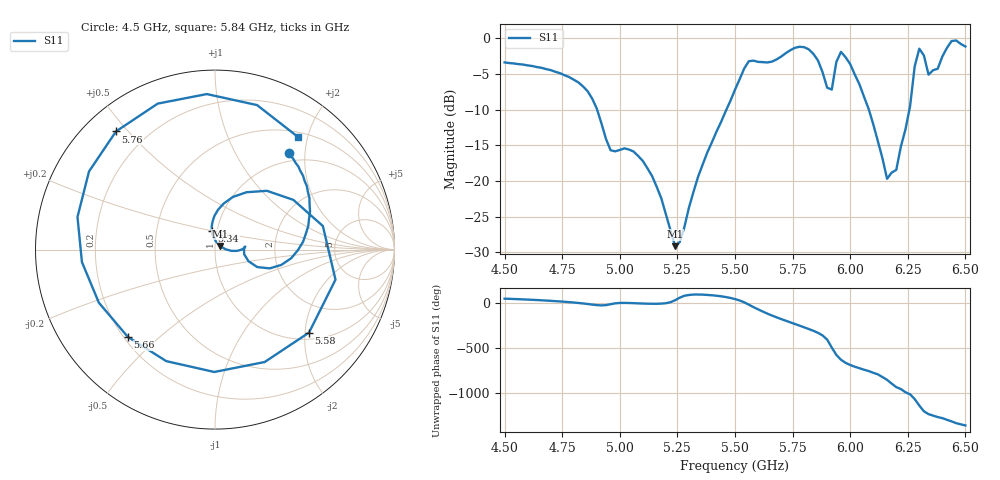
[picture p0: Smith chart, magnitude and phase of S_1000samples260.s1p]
! TOUCHSTONE file generated by CST MICROWAVE STUDIO
! Date and time: Thu Oct 27 13:32:28 2022
! Project name: L.cst
! Parameters = {Di=1.27; Epsilon_r=1.56; InnerDiameter=1.27; Length=2; Lf=10; Lg=60; OuterConductorThickness=0.2921; OuterDiameter=3.6; Wf=3; Wp=41.2; de=1.5; df=6.8; g=0.8; gx=0.469318; gy=0.645984; h=2.34; hf=1.524; px=8.67273; py=14.0497; w=9.7; wx=8.20342; wy=13.4037}
! Header version: 2018
! Port assignment regex: !\s*Touchstone port\s*([0-9]+)\s*=\s*(CST MWS port|CST DS port)\s*([0-9]+|Zmin|Zmax)\s*\(\"(.*)\"\)(\s*mode\s*([0-9]+))?.*
! Touchstone port assignment:
! Touchstone port 1 = CST MWS port 1 ("")
# GHz S DB R 50
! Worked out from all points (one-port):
!   101 points, 4.5 GHz to 6.5 GHz, reference 50 ohm
!   lowest |S11| = -29.1 dB at 5.24 GHz (marker M1), VSWR 1.07, Z = 52.9 + j2.15 ohm
!   |S11| at or under -10 dB: 4.902 GHz to 5.462 GHz (560.8 MHz wide, 10.8 % of centre); 6.081 GHz to 6.257 GHz (175.6 MHz wide, 2.85 % of centre)
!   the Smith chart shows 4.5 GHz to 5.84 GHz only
!   S11 on the Smith chart (normalised r, x): 4.5 GHz: 0.85, +1.70; 5.34 GHz: 0.95, +0.20; 5.58 GHz: 1.16, -2.10; 5.66 GHz: 0.22, -0.40; 5.76 GHz: 0.09, +0.46; 5.84 GHz: 0.57, +1.83
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4.5  -3.36 52.6
4.76  -5.16 18.3
5  -15.63 5.0
5.24  -29.12 35.4
5.26  -28.55 63.8
5.34  -19.37 99.0
5.5  -7.19 48.5
5.58  -3.12 -41.4
5.66  -3.26 -135.0
5.72  -2.08 166.7
5.76  -1.32 130.0
5.8  -1.23 93.0
5.84  -2.16 53.9
5.88  -4.73 2.0
5.9  -6.91 -44.6
5.92  -7.17 -133.5
5.94  -3.29 144.2
5.96  -1.89 89.8
6  -3.60 31.6
6.06  -8.19 -21.4
6.16  -19.68 -134.3
6.26  -9.48 63.9
6.28  -3.91 10.0
6.3  -1.44 -61.8
6.32  -2.40 -126.2
6.4  -2.53 157.3
6.46  -0.29 101.1
6.5  -1.14 75.5
